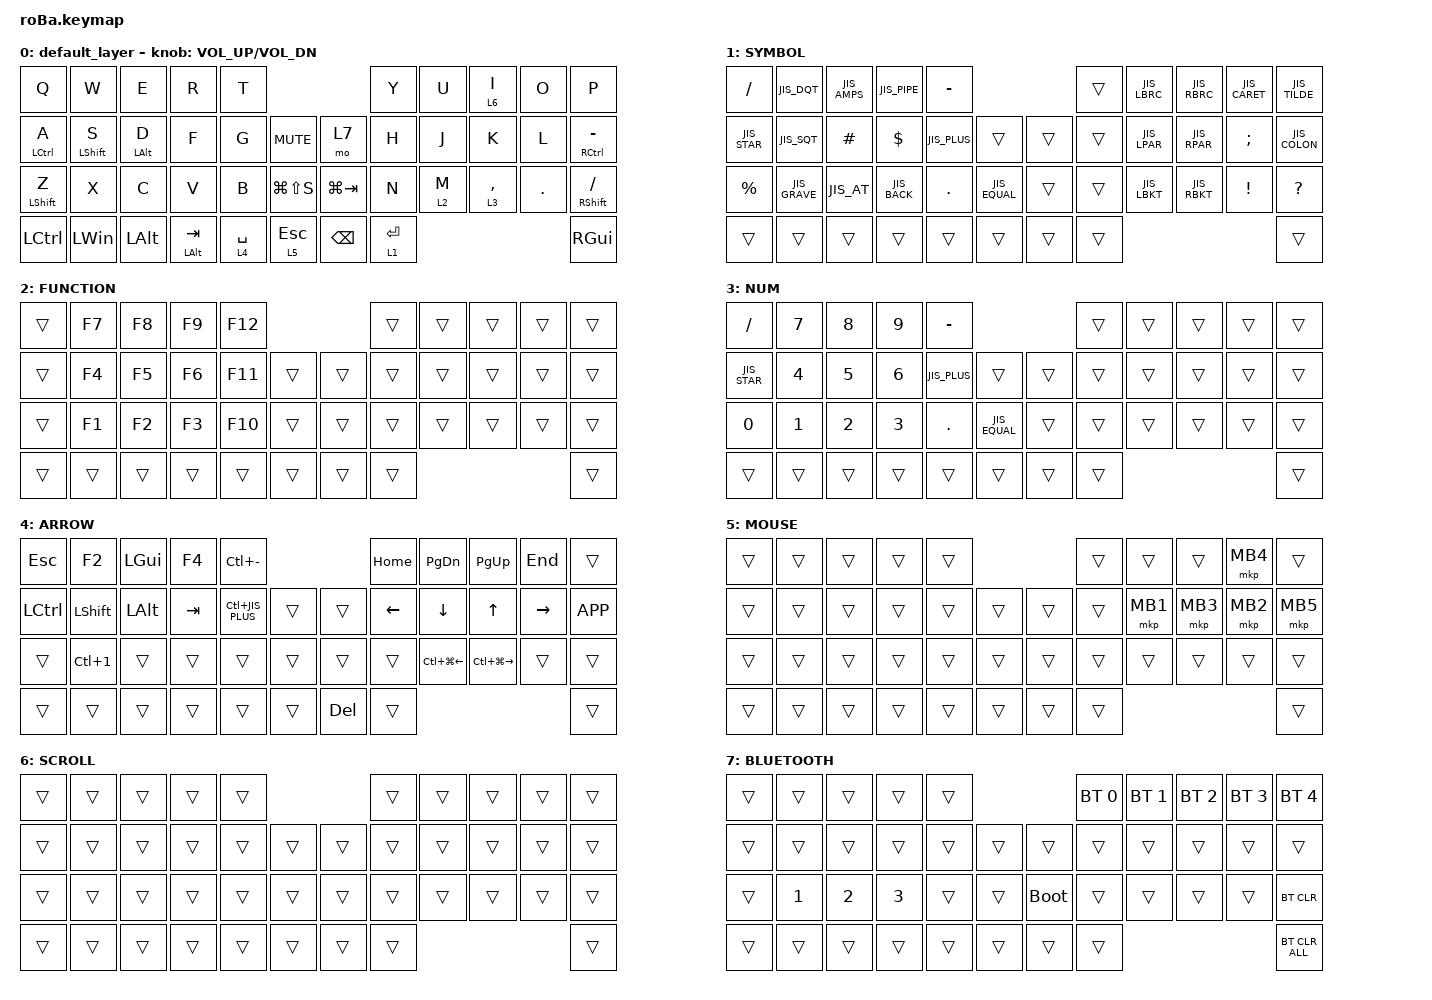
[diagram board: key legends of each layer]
#include "jis_keys.h"
#include <behaviors.dtsi>
#include <dt-bindings/zmk/bt.h>
#include <dt-bindings/zmk/keys.h>
#include <dt-bindings/zmk/pointing.h>

&mt {
    flavor = "balanced";
    quick-tap-ms = <0>;
};

/ {
    combos {
        compatible = "zmk,combos";

        DEFAULT_EISU {
            bindings = <&kp JIS_EISU>;
            key-positions = <12 13>;
            layers = <0>;
        };

        DEFAULT_KANA {
            bindings = <&kp JIS_KANA>;
            key-positions = <18 19>;
            layers = <0>;
        };

        DEFAULT_UNDER {
            bindings = <&kp JIS_UNDER>;
            key-positions = <20 21>;
            layers = <0>;
        };

        TO_DEFAULT {
            bindings = <&to 0>;
            key-positions = <11 12>;
        };

        TO_MOUSE {
            bindings = <&to 5>;
            key-positions = <19 20>;
        };
    };

    keymap {
        compatible = "zmk,keymap";

        default_layer {
            bindings = <
&kp Q        &kp W         &kp E         &kp R         &kp T                                          &kp Y        &kp U    &lt 6 I      &kp O    &kp P
&mt LCTRL A  &mt LSHFT S   &mt LALT D    &kp F         &kp G        &kp C_MUTE         &mo 7          &kp H        &kp J    &kp K        &kp L    &mt RCTRL MINUS
&mt LSHFT Z  &kp X         &kp C         &kp V         &kp B        &kp LG(LS(S))      &kp LG(TAB)    &kp N        &lt 2 M  &lt 3 COMMA  &kp DOT  &mt RSHIFT SLASH
&kp LCTRL    &kp LEFT_WIN  &kp LEFT_ALT  &mt LALT TAB  &lt 4 SPACE  &lt 5 ESC          &kp BACKSPACE  &lt 1 ENTER                                 &kp RGUI
            >;

            sensor-bindings = <&inc_dec_kp C_VOL_UP C_VOL_DN>;
        };

        SYMBOL {
            bindings = <
&kp SLASH     &kp JIS_DQT    &kp JIS_AMPS  &kp JIS_PIPE  &kp MINUS                                &trans  &kp JIS_LBRC  &kp JIS_RBRC  &kp JIS_CARET  &kp JIS_TILDE
&kp JIS_STAR  &kp JIS_SQT    &kp HASH      &kp DLLR      &kp JIS_PLUS  &trans             &trans  &trans  &kp JIS_LPAR  &kp JIS_RPAR  &kp SEMI       &kp JIS_COLON
&kp PRCNT     &kp JIS_GRAVE  &kp JIS_AT    &kp JIS_BACK  &kp DOT       &kp JIS_EQUAL      &trans  &trans  &kp JIS_LBKT  &kp JIS_RBKT  &kp EXCL       &kp QMARK
&trans        &trans         &trans        &trans        &trans        &trans             &trans  &trans                                             &trans
            >;
        };

        FUNCTION {
            bindings = <
&trans  &kp F7  &kp F8  &kp F9  &kp F12                      &trans  &trans  &trans  &trans  &trans
&trans  &kp F4  &kp F5  &kp F6  &kp F11  &trans      &trans  &trans  &trans  &trans  &trans  &trans
&trans  &kp F1  &kp F2  &kp F3  &kp F10  &trans      &trans  &trans  &trans  &trans  &trans  &trans
&trans  &trans  &trans  &trans  &trans   &trans      &trans  &trans                          &trans
            >;
        };

        NUM {
            bindings = <
&kp SLASH     &kp N7  &kp N8  &kp N9  &kp MINUS                                &trans  &trans  &trans  &trans  &trans
&kp JIS_STAR  &kp N4  &kp N5  &kp N6  &kp JIS_PLUS  &trans             &trans  &trans  &trans  &trans  &trans  &trans
&kp N0        &kp N1  &kp N2  &kp N3  &kp DOT       &kp JIS_EQUAL      &trans  &trans  &trans  &trans  &trans  &trans
&trans        &trans  &trans  &trans  &trans        &trans             &trans  &trans                          &trans
            >;
        };

        ARROW {
            bindings = <
&kp ESC    &kp F2      &kp LEFT_GUI  &kp F4   &kp LC(MINUS)                          &kp HOME  &kp PG_DN         &kp PG_UP          &kp END    &trans
&kp LCTRL  &kp LSHFT   &kp LEFT_ALT  &kp TAB  &kp LC(JIS_PLUS)  &trans      &trans   &kp LEFT  &kp DOWN          &kp UP             &kp RIGHT  &kp K_APP
&trans     &kp LC(N1)  &trans        &trans   &trans            &trans      &trans   &trans    &kp LC(LG(LEFT))  &kp LC(LG(RIGHT))  &trans     &trans
&trans     &trans      &trans        &trans   &trans            &trans      &kp DEL  &trans                                                    &trans
            >;
        };

        MOUSE {
            bindings = <
&trans  &trans  &trans  &trans  &trans                      &trans  &trans    &trans    &mkp MB4  &trans
&trans  &trans  &trans  &trans  &trans  &trans      &trans  &trans  &mkp MB1  &mkp MB3  &mkp MB2  &mkp MB5
&trans  &trans  &trans  &trans  &trans  &trans      &trans  &trans  &trans    &trans    &trans    &trans
&trans  &trans  &trans  &trans  &trans  &trans      &trans  &trans                                &trans
            >;
        };

        SCROLL {
            bindings = <
&trans  &trans  &trans  &trans  &trans                      &trans  &trans  &trans  &trans  &trans
&trans  &trans  &trans  &trans  &trans  &trans      &trans  &trans  &trans  &trans  &trans  &trans
&trans  &trans  &trans  &trans  &trans  &trans      &trans  &trans  &trans  &trans  &trans  &trans
&trans  &trans  &trans  &trans  &trans  &trans      &trans  &trans                          &trans
            >;
        };

        BLUETOOTH {
            bindings = <
&trans  &trans        &trans        &trans        &trans                           &bt BT_SEL 0  &bt BT_SEL 1  &bt BT_SEL 2  &bt BT_SEL 3  &bt BT_SEL 4
&trans  &trans        &trans        &trans        &trans  &trans      &trans       &trans        &trans        &trans        &trans        &trans
&trans  &kp NUMBER_1  &kp NUMBER_2  &kp NUMBER_3  &trans  &trans      &bootloader  &trans        &trans        &trans        &trans        &bt BT_CLR
&trans  &trans        &trans        &trans        &trans  &trans      &trans       &trans                                                  &bt BT_CLR_ALL
            >;
        };
    };
};
